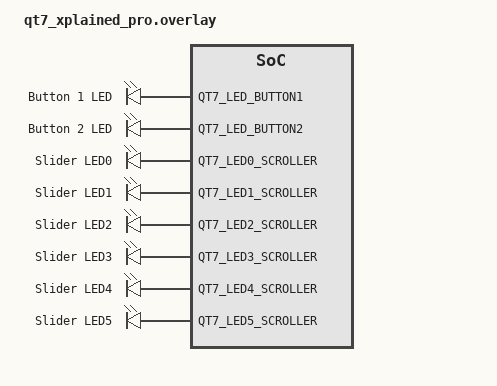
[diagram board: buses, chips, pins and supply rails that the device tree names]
/*
 * SPDX-FileCopyrightText: Copyright (c) 2026 Microchip Technology Inc.
 * SPDX-License-Identifier: Apache-2.0
 */

/*
 * QT7 Xplained Pro Extension Board overlay
 *
 */

/ {
	qt7_leds {
		compatible = "gpio-leds";

		qt7_led_b0: button0_led {
			gpios = <QT7_LED_BUTTON1>;
			label = "Button 1 LED";
		};

		qt7_led_b1: button1_led {
			gpios = <QT7_LED_BUTTON2>;
			label = "Button 2 LED";
		};

		qt7_scroller_led0: slider_led0 {
			gpios = <QT7_LED0_SCROLLER>;
			label = "Slider LED0";
		};

		qt7_scroller_led1: slider_led1 {
			gpios = <QT7_LED1_SCROLLER>;
			label = "Slider LED1";
		};

		qt7_scroller_led2: slider_led2 {
			gpios = <QT7_LED2_SCROLLER>;
			label = "Slider LED2 ";
		};

		qt7_scroller_led3: slider_led3 {
			gpios = <QT7_LED3_SCROLLER>;
			label = "Slider LED3";
		};

		qt7_scroller_led4: slider_led4 {
			gpios = <QT7_LED4_SCROLLER>;
			label = "Slider LED4";
		};

		qt7_scroller_led5: slider_led5 {
			gpios = <QT7_LED5_SCROLLER>;
			label = "Slider LED5";
		};
	};
};

&ptc {
	def-num-channels = <5>;
	def-num-sensors = <5>;

	pinctrl-0 = <&ptc_qt7_default>;
	pinctrl-names = "default";

	/* node parameters */
	node_0_params: touch_node0 {
		x-mask = <QT7_PIN3>,
			 <QT7_PIN10>,
			 <QT7_PIN7>,
			 <QT7_PIN8>,
			 <QT7_PIN9>;
		x-names = "DRIVEN_SHIELD",
			  "BUTTON_2",
			  "SLIDER_0",
			  "SLIDER_1",
			  "SLIDER_2";
		y-mask = <QT7_PIN4>;
		y-names = "BUTTON_1";
		zephyr,code = <INPUT_KEY_0>;
		csd = <0>;
		prescaler = "PRSC_DIV_SEL_16";
		digital-gain = "GAIN_1";
		analog-gain = "GAIN_1";
		filter-level = "FILTER_LEVEL_16";
	};

	key_0_params: touch_key0 {
		threshold = <50>;
		hysteresis = "HYST_25";
		aks-group = "NO_AKS_GROUP";
	};

	/* node parameters */
	node_1_params: touch_node1 {
		x-mask = <QT7_PIN3>,
			 <QT7_PIN4>,
			 <QT7_PIN7>,
			 <QT7_PIN8>,
			 <QT7_PIN9>;
		x-names = "DRIVEN_SHIELD",
			  "BUTTON_1",
			  "SLIDER_0",
			  "SLIDER_1",
			  "SLIDER_2";
		y-mask = <QT7_PIN10>;
		y-names = "BUTTON_2";
		zephyr,code = <INPUT_KEY_1>;
		csd = <0>;
		prescaler = "PRSC_DIV_SEL_16";
		digital-gain = "GAIN_1";
		analog-gain = "GAIN_1";
		filter-level = "FILTER_LEVEL_16";
	};

	key_1_params: touch_key1 {
		threshold = <50>;
		hysteresis = "HYST_25";
		aks-group = "NO_AKS_GROUP";
	};

	/* scroller - node parameters */
	node_2_params: touch_node2 {
		x-mask = <QT7_PIN3>,
			 <QT7_PIN4>,
			 <QT7_PIN10>,
			 <QT7_PIN7>,
			 <QT7_PIN8>;
		x-names = "DRIVEN_SHIELD",
			  "BUTTON_1",
			  "BUTTON_2",
			  "SLIDER_1",
			  "SLIDER_2";
		y-mask = <QT7_PIN9>;
		y-names = "SLIDER_0";
		zephyr,code = <INPUT_KEY_2>;
		csd = <0>;
		prescaler = "PRSC_DIV_SEL_16";
		digital-gain = "GAIN_1";
		analog-gain = "GAIN_1";
		filter-level = "FILTER_LEVEL_16";
	};

	key_2_params: touch_key2 {
		threshold = <50>;
		hysteresis = "HYST_25";
		aks-group = "NO_AKS_GROUP";
	};

	node_3_params: touch_node3 {
		x-mask = <QT7_PIN3>,
			 <QT7_PIN4>,
			 <QT7_PIN10>,
			 <QT7_PIN7>,
			 <QT7_PIN9>;
		x-names = "DRIVEN_SHIELD",
			  "BUTTON_1",
			  "BUTTON_2",
			  "SLIDER_0",
			  "SLIDER_2";
		y-mask = <QT7_PIN8>;
		y-names = "SLIDER_0";
		zephyr,code = <INPUT_KEY_3>;
		csd = <0>;
		prescaler = "PRSC_DIV_SEL_16";
		digital-gain = "GAIN_1";
		analog-gain = "GAIN_1";
		filter-level = "FILTER_LEVEL_16";
	};

	key_3_params: touch_key3 {
		threshold = <50>;
		hysteresis = "HYST_25";
		aks-group = "NO_AKS_GROUP";
	};

	node_4_params: touch_node4 {
		x-mask = <QT7_PIN3>,
			 <QT7_PIN4>,
			 <QT7_PIN10>,
			 <QT7_PIN8>,
			 <QT7_PIN9>;
		x-names = "DRIVEN_SHIELD",
			  "BUTTON_1",
			  "BUTTON_2",
			  "SLIDER_0",
			  "SLIDER_1";
		y-mask = <28>;
		y-names = "SLIDER_0";
		zephyr,code = <INPUT_KEY_4>;
		csd = <0>;
		prescaler = "PRSC_DIV_SEL_16";
		digital-gain = "GAIN_1";
		analog-gain = "GAIN_1";
		filter-level = "FILTER_LEVEL_16";
	};

	key_4_params: touch_key4 {
		threshold = <50>;
		hysteresis = "HYST_25";
		aks-group = "NO_AKS_GROUP";
	};

	def-num-scrollers = <1>;

	/* Slider/wheel Parameters */
	scroller-0-params {
		compatible = "microchip,ptc-scroller";
		scroller-type = "SCROLLER_TYPE_SLIDER";
		zephyr,code = <INPUT_ABS_WHEEL>;
		start-key = <2>;
		number-of-keys = <3>;
		position-hysteresis = <8>;
		contact-min-threshold = <50>;

		/* resol_deadband */
		scroller-resolution = "SCR_RESOL_8_BIT";
		scr-db-percent = "SCR_DB_10_PERCENT";
	};
};
